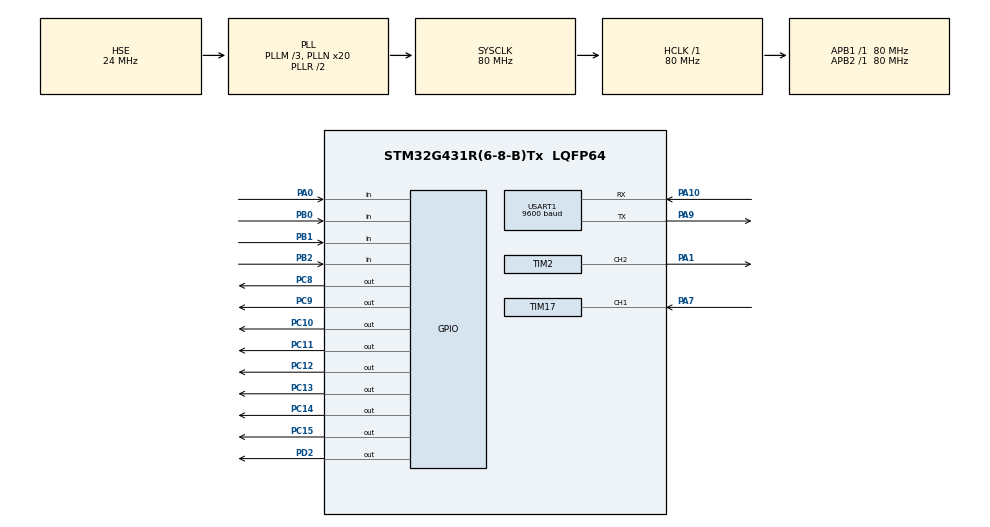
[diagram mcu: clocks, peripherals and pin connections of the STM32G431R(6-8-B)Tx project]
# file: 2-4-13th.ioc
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Mcu.Family=STM32G4
Mcu.Name=STM32G431R(6-8-B)Tx
Mcu.Package=LQFP64
NVIC.PriorityGroup=NVIC_PRIORITYGROUP_4
NVIC.TIM1_BRK_TIM15_IRQn=true\:2\:0\:true\:false\:true\:true\:true\:true
NVIC.TIM1_TRG_COM_TIM17_IRQn=true\:1\:0\:true\:false\:true\:true\:true\:true
NVIC.TIM2_IRQn=true\:4\:0\:true\:false\:true\:true\:true\:true
NVIC.TIM7_IRQn=true\:3\:0\:true\:false\:true\:true\:true\:true
NVIC.USART1_IRQn=true\:0\:0\:false\:false\:true\:true\:true\:true
PA0.GPIO_Mode=GPIO_MODE_INPUT
PA0.GPIO_PuPd=GPIO_PULLUP
PA0.Signal=GPIO_Input
PA1.Signal=S_TIM2_CH2
PA10.Mode=Asynchronous
PA10.Signal=USART1_RX
PA13.Mode=Serial_Wire
PA13.Signal=SYS_JTMS-SWDIO
PA14.Mode=Serial_Wire
PA14.Signal=SYS_JTCK-SWCLK
PA7.Signal=S_TIM17_CH1
PA9.Mode=Asynchronous
PA9.Signal=USART1_TX
PB0.GPIO_Mode=GPIO_MODE_INPUT
PB0.GPIO_PuPd=GPIO_PULLUP
PB0.Signal=GPIO_Input
PB1.GPIO_Mode=GPIO_MODE_INPUT
PB1.GPIO_PuPd=GPIO_PULLUP
PB1.Signal=GPIO_Input
PB2.GPIO_Mode=GPIO_MODE_INPUT
PB2.GPIO_PuPd=GPIO_PULLUP
PB2.Signal=GPIO_Input
PC10.PinState=GPIO_PIN_SET
PC10.Signal=GPIO_Output
PC11.PinState=GPIO_PIN_SET
PC11.Signal=GPIO_Output
PC12.PinState=GPIO_PIN_SET
PC12.Signal=GPIO_Output
PC13.PinState=GPIO_PIN_SET
PC13.Signal=GPIO_Output
PC14-OSC32_IN.PinState=GPIO_PIN_SET
PC14-OSC32_IN.Signal=GPIO_Output
PC15-OSC32_OUT.PinState=GPIO_PIN_SET
PC15-OSC32_OUT.Signal=GPIO_Output
PC8.PinState=GPIO_PIN_SET
PC8.Signal=GPIO_Output
PC9.PinState=GPIO_PIN_SET
PC9.Signal=GPIO_Output
PD2.PinState=GPIO_PIN_SET
PD2.Signal=GPIO_Output
PF0-OSC_IN.Mode=HSE-External-Oscillator
PF0-OSC_IN.Signal=RCC_OSC_IN
PF1-OSC_OUT.Mode=HSE-External-Oscillator
PF1-OSC_OUT.Signal=RCC_OSC_OUT
ProjectManager.HeapSize=0x200
ProjectManager.StackSize=0x400
ProjectManager.TargetToolchain=MDK-ARM V5.32
RCC.ADC12Freq_Value=80000000
RCC.AHBFreq_Value=80000000
RCC.APB1Freq_Value=80000000
RCC.APB1TimFreq_Value=80000000
RCC.APB2Freq_Value=80000000
RCC.APB2TimFreq_Value=80000000
RCC.CortexFreq_Value=80000000
RCC.EXTERNAL_CLOCK_VALUE=12288000
RCC.HCLKFreq_Value=80000000
RCC.HSE_VALUE=24000000
RCC.HSI48_VALUE=48000000
RCC.HSI_VALUE=16000000
RCC.LSE_VALUE=32768
RCC.PLLM=RCC_PLLM_DIV3
RCC.PLLN=20
RCC.PLLSourceVirtual=RCC_PLLSOURCE_HSE
RCC.SYSCLKFreq_VALUE=80000000
RCC.SYSCLKSource=RCC_SYSCLKSOURCE_PLLCLK
RCC.USBFreq_Value=80000000
RCC.VCOOutputFreq_Value=160000000
SH.S_TIM17_CH1.0=TIM17_CH1,Input_Capture1_from_TI1
SH.S_TIM2_CH2.0=TIM2_CH2,PWM Generation2 CH2
TIM15.PeriodNoDither=1000-1
TIM15.Prescaler=800-1
TIM17.Channel=TIM_CHANNEL_1
TIM17.Prescaler=80-1
TIM2.Channel-PWM\ Generation2\ CH2=TIM_CHANNEL_2
TIM2.PeriodNoDither=1000-1
TIM2.Prescaler=80-1
TIM7.PeriodNoDither=1000-1
TIM7.Prescaler=80-1
USART1.BaudRate=9600
USART1.VirtualMode-Asynchronous=VM_ASYNC
VP_SYS_VS_DBSignals.Mode=DisableDeadBatterySignals
VP_TIM15_VS_ClockSourceINT.Mode=Internal
VP_TIM17_VS_ClockSourceINT.Mode=Enable_Timer
VP_TIM2_VS_ClockSourceINT.Mode=Internal
VP_TIM7_VS_ClockSourceINT.Mode=Enable_Timer
board=custom

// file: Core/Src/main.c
/* USER CODE BEGIN Header */
/**
  ******************************************************************************
  * @file           : main.c
  * @brief          : Main program body
  ******************************************************************************
  * @attention
  *
  * Copyright (c) 2025 STMicroelectronics.
  * All rights reserved.
  *
  * This software is licensed under terms that can be found in the LICENSE file
  * in the root directory of this software component.
  * If no LICENSE file comes with this software, it is provided AS-IS.
  *
  ******************************************************************************
  */
/* USER CODE END Header */
#include "main.h"
#include "tim.h"
#include "usart.h"
#include "gpio.h"

/* USER CODE BEGIN Includes */
#include "headfile.h"

/* USER CODE END Includes */

void SystemClock_Config(void);

int main(void)
{

  /* MCU Configuration--------------------------------------------------------*/

  /* Reset of all peripherals, Initializes the Flash interface and the Systick. */
  HAL_Init();

  /* Configure the system clock */
  SystemClock_Config();

  /* Initialize all configured peripherals */
  MX_GPIO_Init();
  MX_TIM2_Init();
  MX_TIM7_Init();
  MX_TIM15_Init();
  MX_TIM17_Init();
  MX_USART1_UART_Init();
  /* USER CODE BEGIN 2 */
	HAL_GPIO_WritePin(GPIOD, GPIO_PIN_2, GPIO_PIN_RESET);
	led_show(1,0);
	led_show(2,0);
	led_show(3,0);
	led_show(4,0);
	led_show(5,0);
	led_show(6,0);
	led_show(7,0);
	led_show(8,0);

	LCD_Init();
	LCD_Clear(Black);
	LCD_SetTextColor(White);
	LCD_SetBackColor(Black);

	HAL_TIM_Base_Start_IT(&htim7);
	//HAL_TIM_Base_Start_IT(&htim15);

	HAL_TIM_IC_Start_IT(&htim17,TIM_CHANNEL_1);

	HAL_TIM_PWM_Start_IT(&htim2,TIM_CHANNEL_2);
	__HAL_TIM_SET_COMPARE(&htim2,TIM_CHANNEL_2,1000*0.5);

	HAL_UART_Receive_IT(&huart1,&rec_data,1);

  /* USER CODE END 2 */

  /* Infinite loop */
  /* USER CODE BEGIN WHILE */
  while (1)
  {
		lcd_show();
    /* USER CODE END WHILE */

  }
}

void SystemClock_Config(void)
{
  RCC_OscInitTypeDef RCC_OscInitStruct = {0};
  RCC_ClkInitTypeDef RCC_ClkInitStruct = {0};

  /** Configure the main internal regulator output voltage
  */
  HAL_PWREx_ControlVoltageScaling(PWR_REGULATOR_VOLTAGE_SCALE1);

  /** Initializes the RCC Oscillators according to the specified parameters
  * in the RCC_OscInitTypeDef structure.
  */
  RCC_OscInitStruct.OscillatorType = RCC_OSCILLATORTYPE_HSE;
  RCC_OscInitStruct.HSEState = RCC_HSE_ON;
  RCC_OscInitStruct.PLL.PLLState = RCC_PLL_ON;
  RCC_OscInitStruct.PLL.PLLSource = RCC_PLLSOURCE_HSE;
  RCC_OscInitStruct.PLL.PLLM = RCC_PLLM_DIV3;
  RCC_OscInitStruct.PLL.PLLN = 20;
  RCC_OscInitStruct.PLL.PLLP = RCC_PLLP_DIV2;
  RCC_OscInitStruct.PLL.PLLQ = RCC_PLLQ_DIV2;
  RCC_OscInitStruct.PLL.PLLR = RCC_PLLR_DIV2;
  if (HAL_RCC_OscConfig(&RCC_OscInitStruct) != HAL_OK)
  {
    Error_Handler();
  }

  /** Initializes the CPU, AHB and APB buses clocks
  */
  RCC_ClkInitStruct.ClockType = RCC_CLOCKTYPE_HCLK|RCC_CLOCKTYPE_SYSCLK
                              |RCC_CLOCKTYPE_PCLK1|RCC_CLOCKTYPE_PCLK2;
  RCC_ClkInitStruct.SYSCLKSource = RCC_SYSCLKSOURCE_PLLCLK;
  RCC_ClkInitStruct.AHBCLKDivider = RCC_SYSCLK_DIV1;
  RCC_ClkInitStruct.APB1CLKDivider = RCC_HCLK_DIV1;
  RCC_ClkInitStruct.APB2CLKDivider = RCC_HCLK_DIV1;

  if (HAL_RCC_ClockConfig(&RCC_ClkInitStruct, FLASH_LATENCY_2) != HAL_OK)
  {
    Error_Handler();
  }
}

void Error_Handler(void)
{
  __disable_irq();
  while (1)
  {
  }
}
